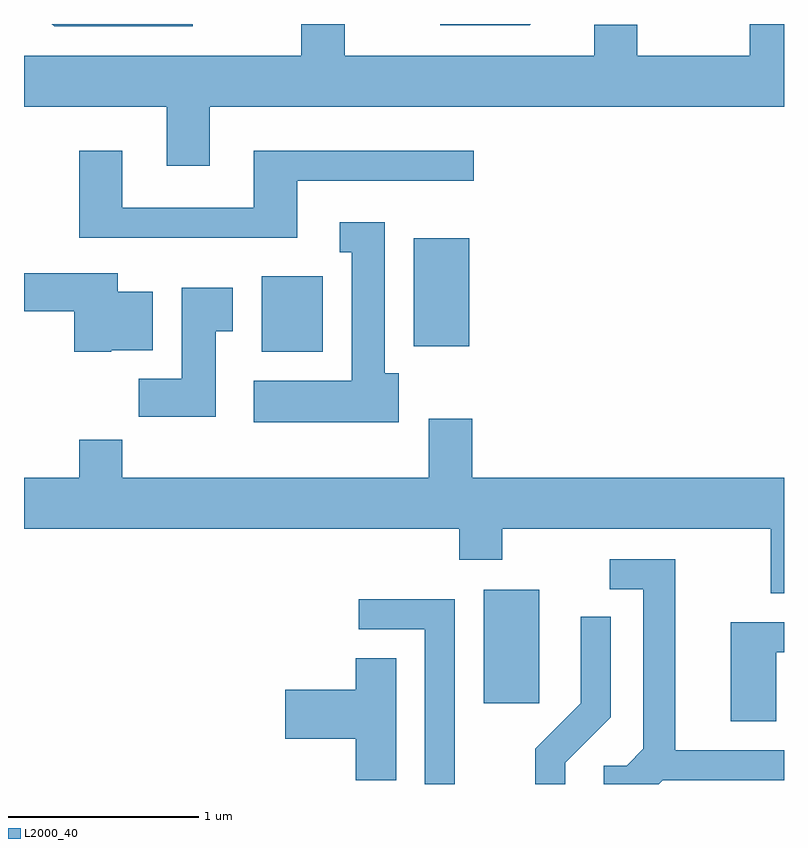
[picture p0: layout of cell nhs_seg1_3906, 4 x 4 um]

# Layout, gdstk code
import gdstk
lib = gdstk.Library(unit=1e-6, precision=1e-09)
def R(c, l, rs):  # rectangles x0, y0, x1, y1
    for r in rs: c.add(gdstk.rectangle(r[:2], r[2:], *l))
def P(c, l, *ps):  # polygons
    for p in ps: c.add(gdstk.Polygon(p, *l))
L2000_40 = (2000, 40)

nhs_seg1_3906 = lib.new_cell('nhs_seg1_3906')
R(nhs_seg1_3906, L2000_40, [(304.031,974.136,304.324,974.734), (302.861,975.986,303.184,976.384), (303.661,976.016,303.954,976.584)])
P(nhs_seg1_3906, L2000_40, [(302.499,977.712),(301.758,977.712),(301.769,977.701),(302.499,977.701)],
  [(304.278,977.712),(303.803,977.712),(303.803,977.706),(304.272,977.706)],
  [(302.589,977.276),(305.611,977.276),(305.611,977.712),(305.431,977.712),(305.431,977.544),(304.839,977.544),(304.839,977.709),(304.611,977.709),(304.611,977.544),(303.299,977.544),(303.299,977.712),(303.071,977.712),(303.071,977.544),(301.611,977.544),(301.611,977.276),(302.361,977.276),(302.361,976.966),(302.589,976.966)],
  [(303.049,976.886),(303.978,976.886),(303.978,977.044),(302.821,977.044),(302.821,976.744),(302.129,976.744),(302.129,977.044),(301.901,977.044),(301.901,976.586),(303.049,976.586)],
  [(303.584,975.874),(303.509,975.874),(303.509,976.669),(303.273,976.669),(303.273,976.511),(303.336,976.511),(303.336,975.834),(302.821,975.834),(302.821,975.616),(303.584,975.616)],
  [(302.07,975.996),(302.289,975.996),(302.289,976.304),(302.104,976.304),(302.104,976.399),(301.611,976.399),(301.611,976.201),(301.876,976.201),(301.876,975.986),(302.07,975.986)],
  [(302.619,976.096),(302.709,976.096),(302.709,976.324),(302.441,976.324),(302.441,975.844),(302.216,975.844),(302.216,975.646),(302.619,975.646)],
  [(305.611,975.324),(303.969,975.324),(303.969,975.634),(303.741,975.634),(303.741,975.324),(302.129,975.324),(302.129,975.524),(301.901,975.524),(301.901,975.324),(301.611,975.324),(301.611,975.056),(303.901,975.056),(303.901,974.891),(304.129,974.891),(304.129,975.056),(305.541,975.056),(305.541,974.716),(305.611,974.716)],
  [(304.972,973.731),(305.611,973.731),(305.611,973.889),(305.039,973.889),(305.039,974.894),(304.693,974.894),(304.693,974.736),(304.871,974.736),(304.871,973.897),(304.784,973.809),(304.663,973.809),(304.663,973.712),(304.953,973.712)],
  [(303.879,974.684),(303.373,974.684),(303.373,974.526),(303.721,974.526),(303.721,973.712),(303.879,973.712)],
  [(304.459,973.824),(304.699,974.064),(304.699,974.593),(304.541,974.593),(304.541,974.137),(304.301,973.897),(304.301,973.712),(304.459,973.712)],
  [(305.569,974.406),(305.611,974.406),(305.611,974.564),(305.331,974.564),(305.331,974.041),(305.569,974.041)],
  [(303.569,974.374),(303.356,974.374),(303.356,974.209),(302.986,974.209),(302.986,973.951),(303.356,973.951),(303.356,973.731),(303.569,973.731)])

lib.write_gds('nhs_seg1_3906.gds')
